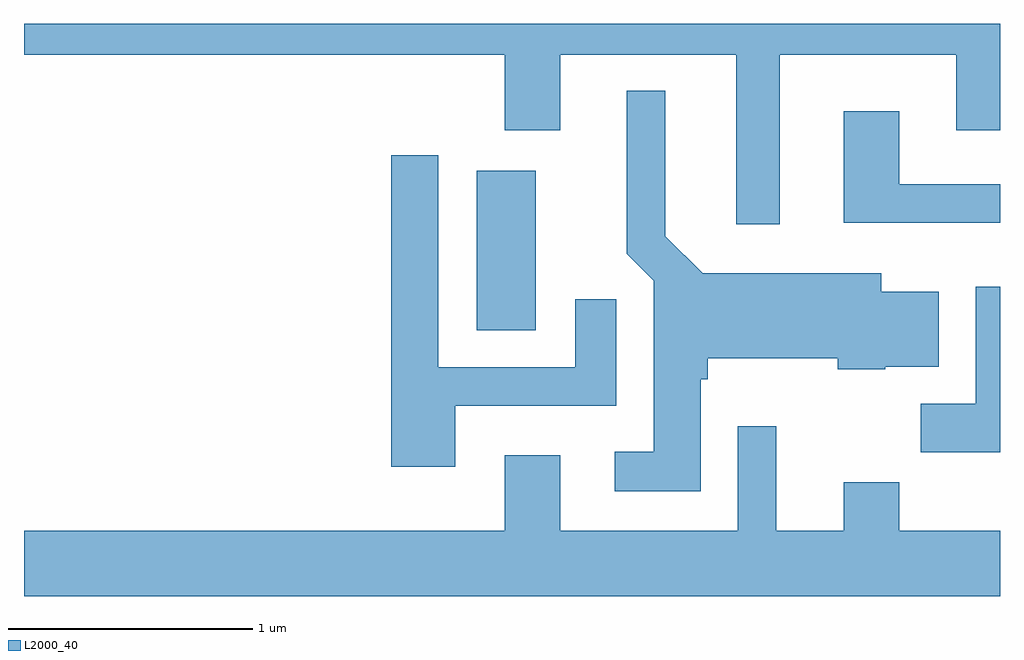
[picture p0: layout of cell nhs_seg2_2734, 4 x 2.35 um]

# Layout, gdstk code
import gdstk
lib = gdstk.Library(unit=1e-6, precision=1e-09)
def R(c, l, rs):  # rectangles x0, y0, x1, y1
    for r in rs: c.add(gdstk.rectangle(r[:2], r[2:], *l))
def P(c, l, *ps):  # polygons
    for p in ps: c.add(gdstk.Polygon(p, *l))
L2000_40 = (2000, 40)

nhs_seg2_2734 = lib.new_cell('nhs_seg2_2734')
R(nhs_seg2_2734, L2000_40, [(267.466,1020.546,267.709,1021.199)])
P(nhs_seg2_2734, L2000_40, [(268.709,1021.676),(269.431,1021.676),(269.431,1021.366),(269.611,1021.366),(269.611,1021.802),(265.611,1021.802),(265.611,1021.676),(267.581,1021.676),(267.581,1021.366),(267.809,1021.366),(267.809,1021.676),(268.531,1021.676),(268.531,1020.981),(268.709,1020.981)],
  [(268.384,1020.346),(268.414,1020.346),(268.414,1020.431),(268.946,1020.431),(268.946,1020.386),(269.14,1020.386),(269.14,1020.396),(269.359,1020.396),(269.359,1020.704),(269.124,1020.704),(269.124,1020.779),(268.392,1020.779),(268.239,1020.932),(268.239,1021.528),(268.081,1021.528),(268.081,1020.859),(268.191,1020.749),(268.191,1020.049),(268.033,1020.049),(268.033,1019.886),(268.384,1019.886)],
  [(269.611,1021.144),(269.199,1021.144),(269.199,1021.444),(268.971,1021.444),(268.971,1020.986),(269.611,1020.986)],
  [(267.379,1020.236),(268.039,1020.236),(268.039,1020.673),(267.871,1020.673),(267.871,1020.394),(267.309,1020.394),(267.309,1021.264),(267.116,1021.264),(267.116,1019.986),(267.379,1019.986)],
  [(269.611,1020.724),(269.511,1020.724),(269.511,1020.244),(269.286,1020.244),(269.286,1020.046),(269.611,1020.046)],
  [(269.611,1019.724),(269.199,1019.724),(269.199,1019.924),(268.971,1019.924),(268.971,1019.724),(268.694,1019.724),(268.694,1020.153),(268.536,1020.153),(268.536,1019.724),(267.809,1019.724),(267.809,1020.034),(267.581,1020.034),(267.581,1019.724),(265.611,1019.724),(265.611,1019.456),(269.611,1019.456)])

lib.write_gds('nhs_seg2_2734.gds')
